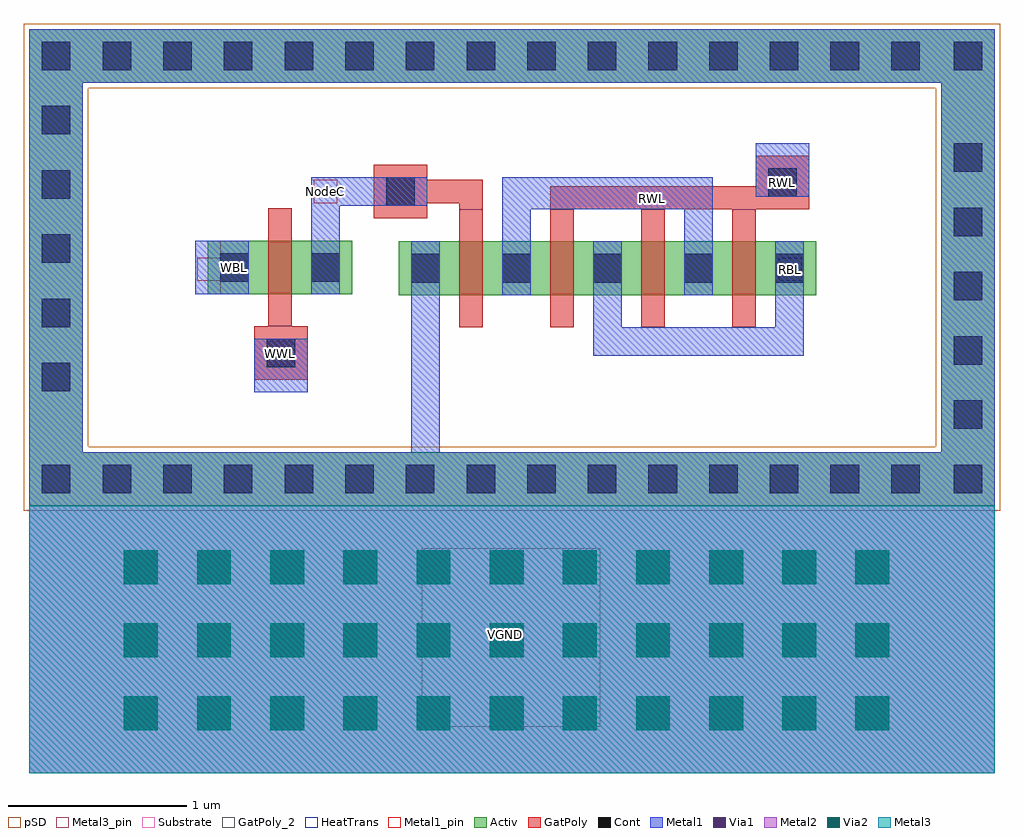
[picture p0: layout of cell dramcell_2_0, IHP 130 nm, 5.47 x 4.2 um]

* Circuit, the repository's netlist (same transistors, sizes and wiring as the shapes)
** sch_path: /home/bah67de/git/heichips26_dram_replica/macros/heichips26_analog_project/macros/dramcell_2_0/schematic/xschem/dramcell_2_0.sch
.SUBCKT dramcell_2_0 WWL WBL RWL RBL VGND NodeC
*.PININFO RBL:O WWL:I WBL:I RWL:I VGND:B NodeC:B
MM4 WBL WWL NodeC VGND sg13_lv_nmos w=0.3u l=0.13u ng=1
MM5 net1 NodeC VGND VGND sg13_lv_nmos w=0.3u l=0.13u ng=1
MM6 RBL RWL net1 VGND sg13_lv_nmos w=0.9u l=0.13u ng=3
*connector(6,1) ?1 VGND ?1 WWL ?1 WBL ?1 RWL ?1 RBL ?1 NodeC
.ENDS

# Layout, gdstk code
import gdstk
lib = gdstk.Library(unit=1e-6, precision=1e-09)
def R(c, l, rs):  # rectangles x0, y0, x1, y1
    for r in rs: c.add(gdstk.rectangle(r[:2], r[2:], *l))
def A(c, l, x, y, w, h, nx, ny, dx, dy):  # array of equal rectangles
    R(c, l, [(x+i*dx, y+j*dy, x+i*dx+w, y+j*dy+h) for i in range(nx) for j in range(ny)])
def P(c, l, *ps):  # polygons
    for p in ps: c.add(gdstk.Polygon(p, *l))
Activ = (1, 0)
GatPoly = (5, 0)
GatPoly_2 = (5, 2)
Cont = (6, 0)
Metal1 = (8, 0)
Metal1_pin = (8, 2)
Metal2 = (10, 0)
pSD = (14, 0)
Via1 = (19, 0)
Via2 = (29, 0)
Metal3 = (30, 0)
Metal3_pin = (30, 2)
Substrate = (40, 0)
HeatTrans = (51, 0)

nmos_1 = lib.new_cell('nmos$1')
A(nmos_1, Activ, 0, 0, 0.3, 0.3, 5, 1, 0.51, 0)
R(nmos_1, Activ, [(0,0,2.34,0.3)])
A(nmos_1, GatPoly, 0.34, -0.18, 0.13, 0.66, 4, 1, 0.51, 0)
R(nmos_1, GatPoly_2, [(0.34,-0.18,0.47,0.48)])
A(nmos_1, Cont, 0.07, 0.07, 0.16, 0.16, 5, 1, 0.51, 0)
A(nmos_1, Metal1, 0.07, 0, 0.16, 0.3, 5, 1, 0.51, 0)
R(nmos_1, Metal1_pin, [(0.07,0,0.23,0.3), (0.58,0,0.74,0.3)])
A(nmos_1, HeatTrans, 0.34, -0.18, 0.13, 0.66, 4, 1, 0.51, 0)
nmos_1.add(gdstk.Label('nmos', (0.405,0.15), layer=63, texttype=0))
nmos_1.add(gdstk.Label('nmos', (0.405,0.15), layer=51, texttype=0))
nmos_1.add(gdstk.Label('nmos', (0.915,0.15), layer=51, texttype=0))
nmos_1.add(gdstk.Label('nmos', (1.425,0.15), layer=51, texttype=0))
nmos_1.add(gdstk.Label('nmos', (1.935,0.15), layer=51, texttype=0))

nmos = lib.new_cell('nmos')
R(nmos, Activ, [(0,0,0.3,0.3), (0,0,0.81,0.3), (0.51,0,0.81,0.3)])
R(nmos, GatPoly, [(0.34,-0.18,0.47,0.48)])
R(nmos, GatPoly_2, [(0.34,-0.18,0.47,0.48)])
R(nmos, Cont, [(0.07,0.07,0.23,0.23), (0.58,0.07,0.74,0.23)])
R(nmos, Metal1, [(0.07,0,0.23,0.3), (0.58,0,0.74,0.3)])
R(nmos, Metal1_pin, [(0.07,0,0.23,0.3), (0.58,0,0.74,0.3)])
R(nmos, HeatTrans, [(0.34,-0.18,0.47,0.48)])
nmos.add(gdstk.Label('nmos', (0.405,0.15), layer=63, texttype=0))
nmos.add(gdstk.Label('nmos', (0.405,0.15), layer=51, texttype=0))

via_stack = lib.new_cell('via_stack')
R(via_stack, Metal1, [(-2.195,-0.515,2.195,0.515)])
R(via_stack, Metal2, [(-2.195,-0.51,2.195,0.51)])
A(via_stack, Via1, -2.145, -0.505, 0.19, 0.19, 11, 3, 0.41, 0.41)
A(via_stack, Via2, -2.145, -0.505, 0.19, 0.19, 11, 3, 0.41, 0.41)
R(via_stack, Metal3, [(-2.195,-0.51,2.195,0.51)])

via_stack_2 = lib.new_cell('via_stack$2')
R(via_stack_2, GatPoly, [(-0.15,-0.15,0.15,0.15)])
R(via_stack_2, Cont, [(-0.08,-0.08,0.08,0.08)])
R(via_stack_2, Metal1, [(-0.13,-0.08,0.13,0.08)])

dramcell_2_0 = lib.new_cell('dramcell_2_0')
R(dramcell_2_0, Activ, [(-1.5,-1.18,-1.2,1.49), (-1.2,-1.18,3.91,-0.88), (3.61,-0.88,3.91,1.49), (-1.2,1.19,3.61,1.49)])
R(dramcell_2_0, GatPoly, [(1.42,0.48,2.57,0.61)])
A(dramcell_2_0, Cont, -1.43, -1.11, 0.16, 0.16, 15, 2, 0.34, 2.37)
A(dramcell_2_0, Cont, 3.68, -1.11, 0.16, 0.16, 1, 6, 0, 0.36)
A(dramcell_2_0, Cont, -1.43, -0.54, 0.16, 0.16, 1, 5, 0, 0.36)
R(dramcell_2_0, Cont, [(0.5,0.5,0.66,0.66), (3.68,1.26,3.84,1.42)])
R(dramcell_2_0, Metal1, [(-1.5,-2.68,3.91,-1.18), (-1.5,-1.18,-1.2,1.49), (-1.2,-1.18,3.91,-0.88), (3.61,-0.88,3.91,1.49), (-0.24,-0.545,0.06,-0.245), (-0.57,0.005,-0.43,0.305), (1.15,0.3,1.31,0.66), (2.17,0.3,2.33,0.48), (1.31,0.48,2.33,0.66), (2.57,0.55,2.87,0.85), (-1.2,1.19,3.61,1.49)])
P(dramcell_2_0, Metal1, [(0.16,0.58),(0.16,0.58),(0.16,0.58),(0.16,0.58)])
R(dramcell_2_0, Metal1_pin, [(-0.16,-0.39,-0.03,-0.26), (-0.56,0.08,-0.43,0.21), (2.7,0.08,2.83,0.21), (0.095,0.515,0.225,0.645)])
R(dramcell_2_0, Metal2, [(-1.5,-2.68,3.91,-1.18)])
R(dramcell_2_0, pSD, [(-1.53,-1.21,-1.17,1.16), (-1.17,-1.21,3.94,-0.85), (3.58,-0.85,3.94,1.52), (-1.53,1.16,3.58,1.52)])
R(dramcell_2_0, Metal3, [(-1.5,-2.68,3.91,-1.18)])
R(dramcell_2_0, Metal3_pin, [(0.7,-2.42,1.7,-1.42)])
R(dramcell_2_0, Substrate, [(-1.5,-1.18,-1.2,1.19), (-1.2,-1.18,3.91,-0.88), (3.61,-0.88,3.91,1.49), (-1.5,1.19,3.61,1.49)])
dramcell_2_0.add(gdstk.FlexPath([(0.16,0.305),(0.16,0.58),(0.73,0.58)], 0.16, ends="flush", simple_path=True, layer=8, datatype=0))  # Metal1
dramcell_2_0.add(gdstk.FlexPath([(0.72,0),(0.72,-0.88)], 0.16, ends="flush", simple_path=True, layer=8, datatype=0))  # Metal1
dramcell_2_0.add(gdstk.FlexPath([(1.74,0),(1.74,-0.26),(2.76,-0.26),(2.76,0),(2.76,0)], 0.16, ends="flush", simple_path=True, layer=8, datatype=0))  # Metal1
dramcell_2_0.add(gdstk.FlexPath([(0.975,0.48),(0.975,0.58),(0.73,0.58)], 0.13, ends="flush", simple_path=True, layer=5, datatype=0))  # GatPoly
dramcell_2_0.add(gdstk.FlexPath([(0.73,0.58),(0.43,0.58),(0.43,0.58)], 0.3, ends="flush", simple_path=True, layer=5, datatype=0))  # GatPoly
dramcell_2_0.add(gdstk.Reference(nmos_1, (0.57,0)))
dramcell_2_0.add(gdstk.Reference(nmos, (-0.5,0.005)))
dramcell_2_0.add(gdstk.Reference(via_stack, (1.175,-1.935)))
dramcell_2_0.add(gdstk.Reference(via_stack_2, (2.72,0.63)))
dramcell_2_0.add(gdstk.Reference(via_stack_2, (-0.09,-0.325)))
dramcell_2_0.add(gdstk.Label('WWL', (-0.095,-0.325), layer=8, texttype=25))
dramcell_2_0.add(gdstk.Label('NodeC', (0.16,0.58), layer=8, texttype=25))
dramcell_2_0.add(gdstk.Label('WBL', (-0.35,0.155), layer=8, texttype=25))
dramcell_2_0.add(gdstk.Label('RWL', (2.72,0.63), layer=8, texttype=25))
dramcell_2_0.add(gdstk.Label('RBL', (2.765,0.145), layer=8, texttype=25))
dramcell_2_0.add(gdstk.Label('RWL', (1.99,0.54), layer=5, texttype=1))
dramcell_2_0.add(gdstk.Label('VGND', (1.17,-1.9), layer=30, texttype=25))

lib.write_gds('dramcell_2_0.gds')
